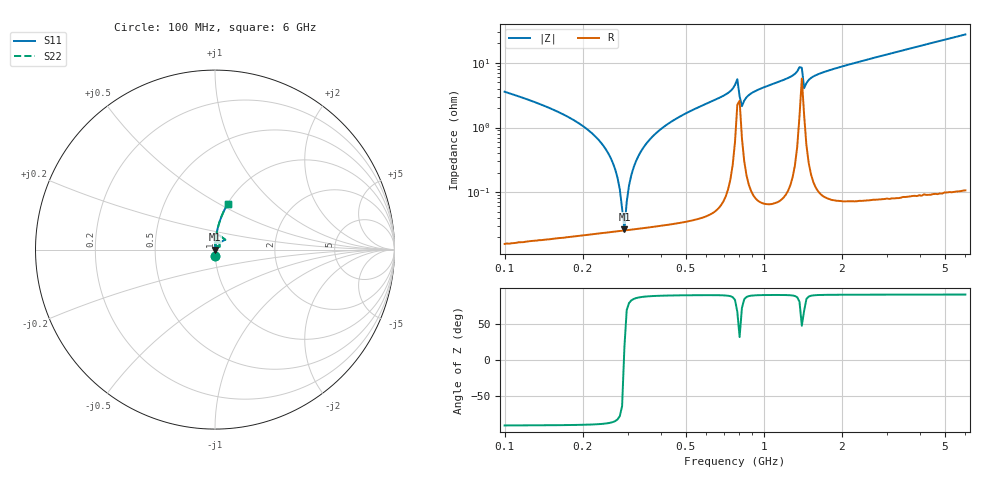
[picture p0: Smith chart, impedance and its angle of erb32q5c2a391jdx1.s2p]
!Murata Part Number:ERB32Q5C2A391JDX1
!These Parameters are Measured in Series Mode Connection
!  o--ll--o
!Port1  Port2
!  o------o
!Operation Temp=25[C], DC Bias Voltage=0[V]
!Freq. Start=100[MHz] Stop=6[GHz], 201[Steps]
# Hz S DB R 50
!Freq.[Hz] MagS11[dB] PhaseS11[DEG] MagS21[dB] PhaseS21[DEG] MagS12[dB] PhaseS12[DEG] MagS22[dB] PhaseS22[DEG]
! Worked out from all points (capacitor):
!   201 points, 100 MHz to 6 GHz, reference 50 ohm
!   read as one part in series: C = 392 pF near 102.1 MHz
!   lowest |Z| = 26.7 mohm at 289.9 MHz (marker M1)
!   series resonance near 289.1 MHz, so ESL is about 770 pH
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1e8  -28.94 -87.7  -0.01 2.0  -0.01 2.0  -28.94 -87.7
2.461463e8  -46.82 -86.8  -0.00 0.3  -0.00 0.3  -46.82 -86.8
2.726761e8  -55.54 -81.4  -0.00 0.1  -0.00 0.1  -55.54 -81.4
2.899475e8  -71.47 17.6  -0.00 -0.0  -0.00 -0.0  -71.47 17.6
2.959444e8  -63.01 68.6  -0.00 -0.0  -0.00 -0.0  -63.01 68.6
3.020653e8  -57.96 78.1  -0.00 -0.1  -0.00 -0.1  -57.96 78.1
3.211982e8  -50.48 84.7  -0.00 -0.2  -0.00 -0.2  -50.48 84.7
3.631764e8  -43.71 87.1  -0.00 -0.4  -0.00 -0.4  -43.71 87.1
4.278029e8  -38.83 87.8  -0.00 -0.7  -0.00 -0.7  -38.83 87.8
7.906174e8  -25.25 63.4  -0.20 -2.9  -0.20 -2.9  -25.25 63.4
8.236598e8  -33.46 70.1  -0.06 -1.2  -0.06 -1.2  -33.46 70.1
8.939452e8  -29.46 86.3  -0.01 -1.9  -0.01 -1.9  -29.46 86.3
1.09703e9  -26.38 86.5  -0.02 -2.8  -0.02 -2.8  -26.38 86.5
1.374095e9  -21.48 75.1  -0.16 -4.8  -0.16 -4.8  -21.48 75.1
1.402515e9  -22.00 43.6  -0.50 -3.3  -0.50 -3.3  -22.00 43.6
1.431523e9  -27.97 65.3  -0.14 -2.1  -0.14 -2.1  -27.97 65.3
1.585813e9  -23.86 85.3  -0.03 -3.7  -0.03 -3.7  -23.86 85.3
2.06934e9  -20.84 84.3  -0.04 -5.2  -0.04 -5.2  -20.84 84.3
3.053207e9  -17.27 81.8  -0.09 -7.9  -0.09 -7.9  -17.27 81.8
4.066557e9  -14.78 79.2  -0.15 -10.5  -0.15 -10.5  -14.78 79.2
5.093604e9  -12.88 76.6  -0.24 -13.1  -0.24 -13.1  -12.88 76.6
6e9  -11.53 74.4  -0.33 -15.4  -0.33 -15.4  -11.53 74.4
